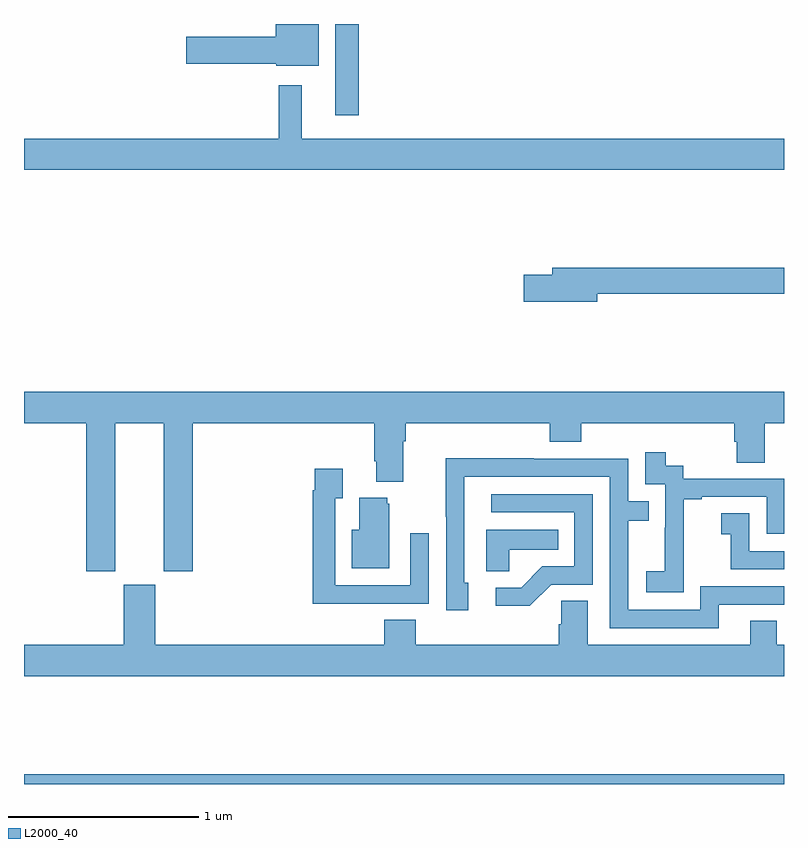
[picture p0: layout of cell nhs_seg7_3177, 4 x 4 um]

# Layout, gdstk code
import gdstk
lib = gdstk.Library(unit=1e-6, precision=1e-09)
def R(c, l, rs):  # rectangles x0, y0, x1, y1
    for r in rs: c.add(gdstk.rectangle(r[:2], r[2:], *l))
def P(c, l, *ps):  # polygons
    for p in ps: c.add(gdstk.Polygon(p, *l))
L2000_40 = (2000, 40)

nhs_seg7_3177 = lib.new_cell('nhs_seg7_3177')
R(nhs_seg7_3177, L2000_40, [(313,1048,317,1048.052), (314.639,1051.521,314.761,1052)])
P(nhs_seg7_3177, L2000_40, [(314.551,1052),(314.324,1052),(314.324,1051.934),(313.854,1051.934),(313.854,1051.792),(314.328,1051.792),(314.328,1051.781),(314.551,1051.781)],
  [(317,1051.396),(314.461,1051.396),(314.461,1051.678),(314.34,1051.678),(314.34,1051.396),(313,1051.396),(313,1051.232),(317,1051.232)],
  [(316.018,1050.58),(317,1050.58),(317,1050.716),(315.779,1050.716),(315.779,1050.68),(315.63,1050.68),(315.63,1050.538),(316.018,1050.538)],
  [(313.48,1049.9),(313.736,1049.9),(313.736,1049.121),(313.889,1049.121),(313.889,1049.9),(314.843,1049.9),(314.843,1049.698),(314.855,1049.698),(314.855,1049.591),(314.995,1049.591),(314.995,1049.804),(315.008,1049.804),(315.008,1049.9),(315.767,1049.9),(315.767,1049.801),(315.932,1049.801),(315.932,1049.9),(316.739,1049.9),(316.739,1049.802),(316.751,1049.802),(316.751,1049.692),(316.899,1049.692),(316.899,1049.9),(317,1049.9),(317,1050.064),(313,1050.064),(313,1049.9),(313.328,1049.9),(313.328,1049.121),(313.48,1049.121)],
  [(316.473,1049.215),(316.472,1049.215),(316.472,1049.499),(316.567,1049.499),(316.567,1049.511),(316.908,1049.511),(316.908,1049.316),(317,1049.316),(317,1049.607),(316.47,1049.607),(316.47,1049.676),(316.378,1049.676),(316.378,1049.746),(316.269,1049.746),(316.269,1049.577),(316.374,1049.577),(316.374,1049.348),(316.373,1049.348),(316.373,1049.119),(316.275,1049.119),(316.275,1049.009),(316.473,1049.009)],
  [(316.657,1048.944),(317,1048.944),(317,1049.04),(316.56,1049.04),(316.56,1048.917),(316.179,1048.917),(316.179,1049.386),(316.289,1049.386),(316.289,1049.487),(316.179,1049.487),(316.179,1049.712),(315.683,1049.712),(315.683,1049.714),(315.22,1049.714),(315.22,1049.407),(315.222,1049.407),(315.222,1048.914),(315.337,1048.914),(315.337,1049.058),(315.318,1049.058),(315.318,1049.616),(316.083,1049.616),(316.083,1048.821),(316.657,1048.821)],
  [(314.813,1048.95),(315.129,1048.95),(315.129,1049.32),(315.033,1049.32),(315.033,1049.046),(314.637,1049.046),(314.637,1049.503),(314.677,1049.503),(314.677,1049.659),(314.529,1049.659),(314.529,1049.546),(314.521,1049.546),(314.521,1048.949),(314.813,1048.949)],
  [(315.774,1049.049),(315.993,1049.049),(315.993,1049.526),(315.459,1049.526),(315.459,1049.43),(315.897,1049.43),(315.897,1049.145),(315.728,1049.145),(315.617,1049.034),(315.483,1049.034),(315.483,1048.937),(315.661,1048.937)],
  [(314.923,1049.475),(314.912,1049.475),(314.912,1049.506),(314.765,1049.506),(314.765,1049.338),(314.726,1049.338),(314.726,1049.135),(314.923,1049.135)],
  [(317,1049.226),(316.818,1049.226),(316.818,1049.425),(316.671,1049.425),(316.671,1049.315),(316.72,1049.315),(316.72,1049.13),(317,1049.13)],
  [(315.555,1049.234),(315.812,1049.234),(315.812,1049.338),(315.434,1049.338),(315.434,1049.119),(315.555,1049.119)],
  [(317,1048.732),(316.962,1048.732),(316.962,1048.859),(316.823,1048.859),(316.823,1048.732),(315.967,1048.732),(315.967,1048.964),(315.828,1048.964),(315.828,1048.841),(315.815,1048.841),(315.815,1048.732),(315.062,1048.732),(315.062,1048.865),(314.897,1048.865),(314.897,1048.732),(313.69,1048.732),(313.69,1049.049),(313.526,1049.049),(313.526,1048.732),(313,1048.732),(313,1048.568),(317,1048.568)])

lib.write_gds('nhs_seg7_3177.gds')
